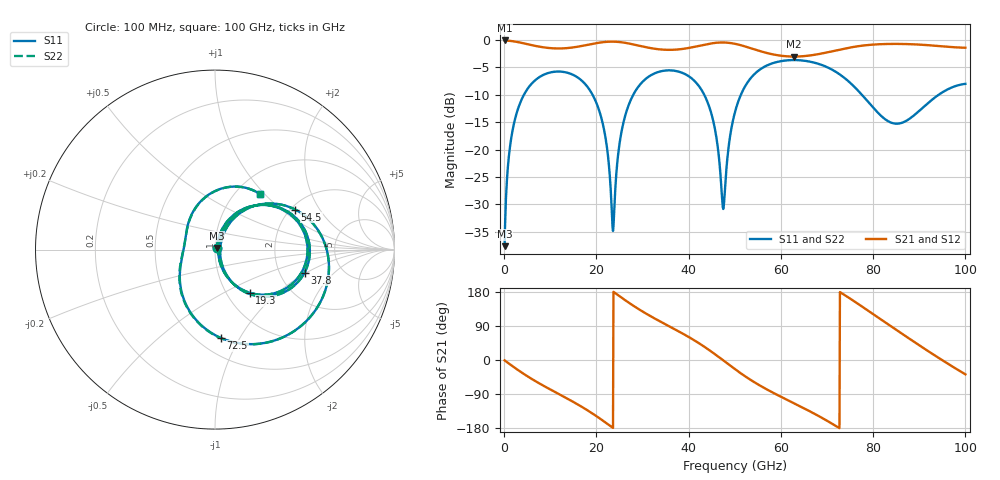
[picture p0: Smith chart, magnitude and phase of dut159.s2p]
! Touchstone file exported from HFSS 2026.1.0
!  File:  C:/ffzhzh/LocalFiles/Ansys_Project_Files/temp_test_TSV_RDL_159_1783465293_28540.aedt
!  Generated:  07:12:21 AM Jul  8, 2026
!  Design:  TSV_RDL
!  Project:  temp_test_TSV_RDL_159_1783465293_28540
! Variables:
!  h_bsmrdl = 4.58um
!  h_ox = 20um
!  h_rdl = 5um
!  h_sub = 50.38um
!  h_tmrdl = 2.72um
!  h_tsv = 50.38um
!  h_via = 3um
!  l_bsmrdl = 582.76um
!  l_sub = 2781.09um
!  l_tmrdl = 119.42um
!  m_sub = 200um
!  pitch = 52.86um
!  r_tsv = 10.78um
!  s_tmrdl = 10um
!  w_bsmrdl = 22.95um
!  w_sub = 500um
!  w_tmrdl = 28.76um
!  x_tsv_center1 = 133.8um
!  x_tsv_center2 = 739.51um
!  x_tsv_center3 = 887.69um
!  x_tsv_center4 = 1493.4um
!  x_tsv_center5 = 1641.58um
!  x_tsv_center6 = 2247.29um
# GHz S MA R 50.000000
! Terminal data exported
! Port[1] = TM_RDL1_1_T1
! Port[2] = TM_RDL5_1_T1
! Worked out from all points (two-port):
!   1000 points, 100 MHz to 100 GHz, reference 50 ohm
!   highest |S21| = -0.08 dB at 100 MHz (marker M1); lowest = -3.0 dB at 62.9 GHz (marker M2)
!   |S21| within 3 dB of the highest: start of sweep to end of sweep
!   lowest |S11| = -37.6 dB at 100 MHz (marker M3), VSWR 1.03, Z = 51 + j0.917 ohm
!   |S11| at or under -10 dB: 19.17 GHz to 27.99 GHz (8.819 GHz wide, 37.4 % of centre); 43.39 GHz to 51.32 GHz (7.936 GHz wide, 16.8 % of centre); 77.57 GHz to 94.19 GHz (16.62 GHz wide, 19.4 % of centre) (the widest 3 of 4)
!   |S22| runs from -37.6 to -3.7 dB; largest |S21 - S12| = 1.7e-14
!   S11 on the Smith chart (normalised r, x): 100 MHz: 1.02, +0.02; 19.3 GHz: 1.28, -0.68; 37.8 GHz: 2.75, -0.96; 54.5 GHz: 2.11, +1.25; 72.5 GHz: 0.64, -0.84; 100 GHz: 1.28, +0.94
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0.1  0.01315 43.1  0.9905 -0.9  0.9905 -0.9  0.01315 43.1
! Gamma 0 0 0 0
! Port Impedance 50 0 50 0
1.5  0.1246 70.6  0.9794 -13.5  0.9794 -13.5  0.1246 70.5
4.3  0.3169 49.9  0.9314 -37.1  0.9314 -37.1  0.3169 49.9
10.8  0.5129 5.5  0.839 -83.0  0.839 -83.0  0.5129 5.4
16.8  0.4267 -33.4  0.8817 -123.3  0.8817 -123.3  0.4268 -33.4
19.3  0.3089 -51.1  0.9248 -142.4  0.9248 -142.4  0.309 -51.2
21.8  0.1416 -67.7  0.9591 -163.4  0.9591 -163.4  0.1416 -67.9
23.6  0.0181 0.5  0.966 -179.2  0.966 -179.2  0.01757 0.3
26.6  0.2285 59.4  0.9367 154.8  0.9367 154.8  0.2284 59.5
33.4  0.5103 13.0  0.8239 104.5  0.8239 104.5  0.5103 13.0
37.8  0.5152 -14.4  0.8208 75.8  0.8208 75.8  0.5152 -14.4
44.3  0.2574 -57.9  0.9216 27.5  0.9216 27.5  0.2574 -58.1
47.5  0.0287 -1.8  0.9494 -1.0  0.9494 -1.0  0.02821 -1.9
50.1  0.224 57.4  0.9221 -24.7  0.9221 -24.7  0.2239 57.5
54.5  0.4992 26.6  0.8152 -60.5  0.8152 -60.5  0.4991 26.5
62.9  0.656 -24.8  0.7061 -114.5  0.7061 -114.5  0.6559 -24.9
66.7  0.6293 -47.4  0.7264 -138.1  0.7264 -138.1  0.6292 -47.6
72.5  0.4938 -86.1  0.8125 -178.5  0.8125 -178.5  0.4937 -86.5
77.5  0.3185 -124.0  0.8866 141.8  0.8866 141.8  0.3183 -124.8
83.4  0.1802 -173.3  0.9205 92.9  0.9205 92.9  0.1802 -174.7
91.9  0.266 111.8  0.8969 23.6  0.8969 23.6  0.2662 111.1
100  0.3982 51.2  0.85 -37.9  0.85 -37.9  0.3982 51.1
